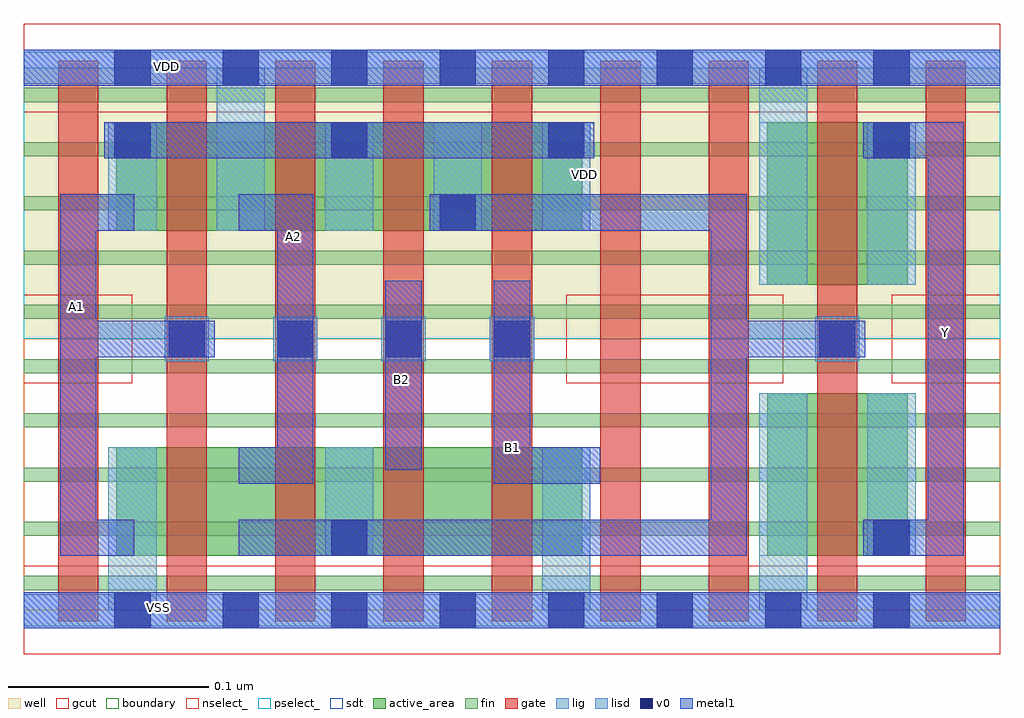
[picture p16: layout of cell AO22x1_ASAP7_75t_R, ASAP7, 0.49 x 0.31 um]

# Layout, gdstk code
import gdstk
lib = gdstk.Library(unit=1e-6, precision=2.5e-10)
def R(c, l, rs):  # rectangles x0, y0, x1, y1
    for r in rs: c.add(gdstk.rectangle(r[:2], r[2:], *l))
def A(c, l, x, y, w, h, nx, ny, dx, dy):  # array of equal rectangles
    R(c, l, [(x+i*dx, y+j*dy, x+i*dx+w, y+j*dy+h) for i in range(nx) for j in range(ny)])
def P(c, l, *ps):  # polygons
    for p in ps: c.add(gdstk.Polygon(p, *l))
well = (1, 0)
fin = (2, 0)
gate = (7, 0)
gcut = (10, 0)
active_area = (11, 0)
nselect_ = (12, 0)
pselect_ = (13, 0)
lig = (16, 0)
lisd = (17, 0)
v0 = (18, 0)
metal1 = (19, 0)
sdt = (88, 0)
boundary = (100, 0)

ao22x1_asap7_75t_r = lib.new_cell('AO22x1_ASAP7_75t_R')
R(ao22x1_asap7_75t_r, well, [(0,0.135,0.486,0.27)])
A(ao22x1_asap7_75t_r, fin, 0, 0.01, 0.486, 0.007, 1, 10, 0, 0.027)
A(ao22x1_asap7_75t_r, gate, 0.017, -0.0055, 0.02, 0.279, 8, 1, 0.054, 0)
R(ao22x1_asap7_75t_r, gate, [(0.395,-0.0055,0.415,0.2735), (0.449,-0.0055,0.469,0.2735)])
R(ao22x1_asap7_75t_r, gcut, [(0,-0.022,0.486,0.022), (0,0.113,0.054,0.157), (0.27,0.113,0.378,0.157), (0.432,0.113,0.486,0.157), (0,0.248,0.486,0.292)])
R(ao22x1_asap7_75t_r, active_area, [(0.046,0.027,0.278,0.081), (0.37,0.027,0.44,0.108), (0.37,0.162,0.44,0.243), (0.046,0.189,0.278,0.243)])
R(ao22x1_asap7_75t_r, nselect_, [(0,0,0.486,0.135)])
R(ao22x1_asap7_75t_r, pselect_, [(0,0.135,0.486,0.27)])
A(ao22x1_asap7_75t_r, lig, 0.07, 0.124, 0.022, 0.022, 4, 1, 0.054, 0)
R(ao22x1_asap7_75t_r, lig, [(0,-0.008,0.486,0.008), (0.394,0.124,0.416,0.146), (0,0.262,0.486,0.278)])
A(ao22x1_asap7_75t_r, lisd, 0.15, 0.189, 0.024, 0.054, 3, 1, 0.054, 0)
R(ao22x1_asap7_75t_r, lisd, [(0.042,0,0.066,0.081), (0.258,0,0.282,0.081), (0.366,0,0.39,0.108), (0.15,0.027,0.174,0.081), (0.42,0.027,0.444,0.108), (0.366,0.162,0.39,0.27), (0.42,0.162,0.444,0.243), (0.042,0.189,0.066,0.243), (0.096,0.189,0.12,0.27)])
A(ao22x1_asap7_75t_r, v0, 0.045, -0.009, 0.018, 0.018, 8, 2, 0.054, 0.27)
A(ao22x1_asap7_75t_r, v0, 0.072, 0.126, 0.018, 0.018, 4, 1, 0.054, 0)
A(ao22x1_asap7_75t_r, v0, 0.045, 0.225, 0.018, 0.018, 3, 1, 0.108, 0)
R(ao22x1_asap7_75t_r, v0, [(0.423,-0.009,0.441,0.009), (0.153,0.027,0.171,0.045), (0.423,0.027,0.441,0.045), (0.396,0.126,0.414,0.144), (0.207,0.189,0.225,0.207), (0.423,0.225,0.441,0.243), (0.423,0.261,0.441,0.279)])
R(ao22x1_asap7_75t_r, metal1, [(0,-0.009,0.486,0.009), (0.18,0.07,0.198,0.164), (0.04,0.225,0.284,0.243), (0,0.261,0.486,0.279)])
P(ao22x1_asap7_75t_r, metal1, [(0.144,0.207),(0.107,0.207),(0.107,0.189),(0.126,0.189),(0.126,0.081),(0.107,0.081),(0.107,0.063),(0.144,0.063)],
  [(0.287,0.081),(0.252,0.081),(0.252,0.164),(0.234,0.164),(0.234,0.063),(0.287,0.063)],
  [(0.419,0.144),(0.36,0.144),(0.36,0.207),(0.202,0.207),(0.202,0.189),(0.342,0.189),(0.342,0.045),(0.107,0.045),(0.107,0.027),(0.36,0.027),(0.36,0.126),(0.419,0.126)],
  [(0.468,0.243),(0.418,0.243),(0.418,0.225),(0.45,0.225),(0.45,0.045),(0.418,0.045),(0.418,0.027),(0.468,0.027)],
  [(0.095,0.144),(0.036,0.144),(0.036,0.189),(0.055,0.189),(0.055,0.207),(0.018,0.207),(0.018,0.027),(0.055,0.027),(0.055,0.045),(0.036,0.045),(0.036,0.126),(0.095,0.126)])
A(ao22x1_asap7_75t_r, sdt, 0.042, 0.027, 0.024, 0.054, 3, 1, 0.108, 0)
A(ao22x1_asap7_75t_r, sdt, 0.042, 0.189, 0.024, 0.054, 5, 1, 0.054, 0)
R(ao22x1_asap7_75t_r, sdt, [(0.366,0.027,0.39,0.108), (0.42,0.027,0.444,0.108), (0.42,0.027,0.444,0.108), (0.366,0.162,0.39,0.243), (0.42,0.162,0.444,0.243), (0.42,0.162,0.444,0.243)])
R(ao22x1_asap7_75t_r, boundary, [(0,0,0.486,0.27)])
ao22x1_asap7_75t_r.add(gdstk.Label('VSS', (0.21,-0.044), layer=3, texttype=251))
ao22x1_asap7_75t_r.add(gdstk.Label('A1', (0.026,0.151), layer=19, texttype=251))
ao22x1_asap7_75t_r.add(gdstk.Label('A2', (0.134,0.186), layer=19, texttype=251))
ao22x1_asap7_75t_r.add(gdstk.Label('VDD', (0.071,0.2705), layer=19, texttype=251))
ao22x1_asap7_75t_r.add(gdstk.Label('B2', (0.188,0.115), layer=19, texttype=251))
ao22x1_asap7_75t_r.add(gdstk.Label('Y', (0.459,0.138), layer=19, texttype=251))
ao22x1_asap7_75t_r.add(gdstk.Label('B1', (0.243,0.081), layer=19, texttype=251))
ao22x1_asap7_75t_r.add(gdstk.Label('VSS', (0.067,0.0015), layer=19, texttype=251))
ao22x1_asap7_75t_r.add(gdstk.Label('VDD', (0.279,0.217), layer=1, texttype=251))

lib.write_gds('AO22x1_ASAP7_75t_R.gds')
